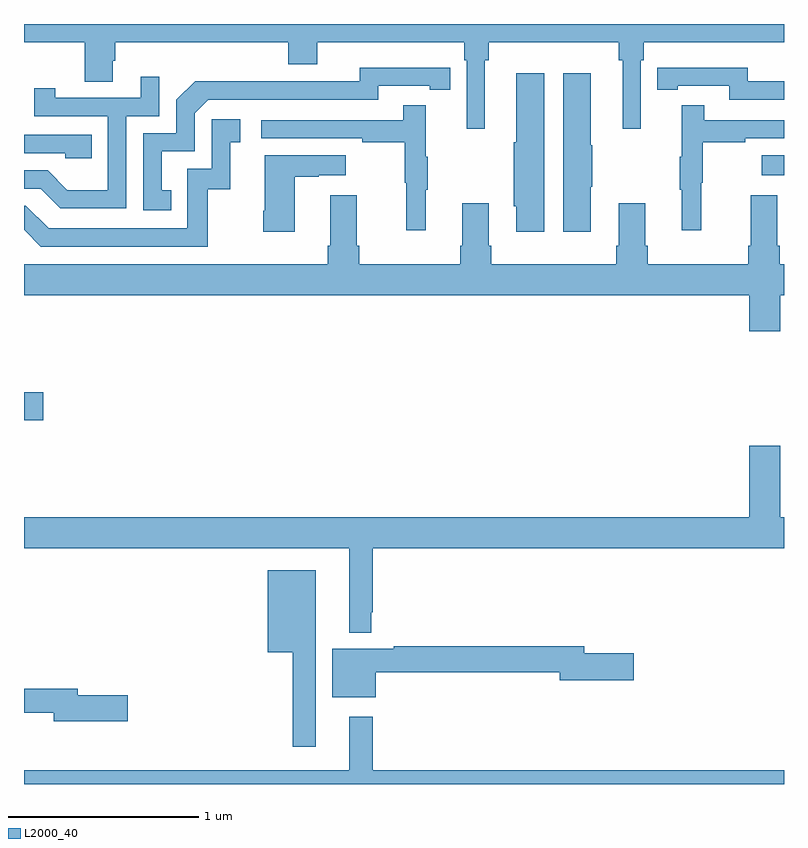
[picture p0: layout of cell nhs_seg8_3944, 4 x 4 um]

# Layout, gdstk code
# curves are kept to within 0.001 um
import gdstk
lib = gdstk.Library(unit=1e-6, precision=1e-09)
def R(c, l, rs):  # rectangles x0, y0, x1, y1
    for r in rs: c.add(gdstk.rectangle(r[:2], r[2:], *l))
def P(c, l, *ps):  # polygons
    for p in ps: c.add(gdstk.Polygon(p, *l))
L2000_40 = (2000, 40)

nhs_seg8_3944 = lib.new_cell('nhs_seg8_3944')
R(nhs_seg8_3944, L2000_40, [(353,1143.815,353.101,1143.962), (356.883,1145.105,357,1145.209)])
P(nhs_seg8_3944, L2000_40, [(355.426,1145.708),(355.445,1145.708),(355.445,1145.804),(356.131,1145.804),(356.131,1145.708),(356.15,1145.708),(356.15,1145.349),(356.247,1145.349),(356.247,1145.708),(356.261,1145.708),(356.261,1145.804),(357,1145.804),(357,1145.9),(353,1145.9),(353,1145.804),(353.32,1145.804),(353.32,1145.596),(353.467,1145.596),(353.467,1145.706),(353.48,1145.706),(353.48,1145.804),(354.392,1145.804),(354.392,1145.687),(354.544,1145.687),(354.544,1145.804),(355.316,1145.804),(355.316,1145.708),(355.329,1145.708),(355.329,1145.349),(355.426,1145.349)],
  [(353.774,1145.025),(353.725,1145.025),(353.725,1145.229),(353.898,1145.229),(353.898,1145.43),(353.97,1145.502),(354.864,1145.502),(354.864,1145.574),(355.136,1145.574),(355.136,1145.554),(355.244,1145.554),(355.244,1145.67),(354.768,1145.671),(354.768,1145.598),(354.308,1145.598),(354.308,1145.6),(353.9,1145.6),(353.802,1145.502),(353.802,1145.325),(353.628,1145.325),(353.628,1144.92),(353.774,1144.92)],
  [(357,1145.598),(356.808,1145.598),(356.808,1145.671),(356.44,1145.671),(356.44,1145.67),(356.332,1145.67),(356.332,1145.554),(356.44,1145.554),(356.44,1145.574),(356.712,1145.574),(356.712,1145.502),(357,1145.502)],
  [(355.738,1145.641),(355.592,1145.641),(355.592,1145.277),(355.577,1145.277),(355.577,1144.941),(355.592,1144.941),(355.592,1144.806),(355.738,1144.806)],
  [(355.984,1145.044),(355.992,1145.044),(355.992,1145.261),(355.984,1145.261),(355.984,1145.641),(355.838,1145.641),(355.838,1144.806),(355.984,1144.806)],
  [(353.538,1145.415),(353.712,1145.415),(353.712,1145.623),(353.615,1145.623),(353.615,1145.511),(353.164,1145.511),(353.164,1145.563),(353.053,1145.563),(353.053,1145.415),(353.442,1145.415),(353.442,1145.026),(353.228,1145.026),(353.124,1145.13),(353,1145.13),(353,1145.034),(353.087,1145.034),(353.192,1144.929),(353.538,1144.929)],
  [(355.115,1145.027),(355.126,1145.027),(355.126,1145.201),(355.115,1145.201),(355.115,1145.473),(354.997,1145.473),(354.997,1145.394),(354.249,1145.394),(354.249,1145.298),(354.781,1145.298),(354.781,1145.278),(355.005,1145.278),(355.005,1145.064),(355.012,1145.064),(355.012,1144.815),(355.115,1144.815)],
  [(356.564,1145.064),(356.572,1145.064),(356.572,1145.278),(356.795,1145.278),(356.795,1145.298),(357,1145.298),(357,1145.394),(356.579,1145.394),(356.579,1145.473),(356.462,1145.473),(356.462,1145.201),(356.451,1145.201),(356.451,1145.027),(356.462,1145.027),(356.462,1144.815),(356.564,1144.815)],
  [(353.968,1145.031),(354.086,1145.031),(354.086,1145.277),(354.139,1145.277),(354.139,1145.398),(353.988,1145.398),(353.988,1145.139),(353.859,1145.139),(353.859,1144.824),(353.13,1144.824),(353.01,1144.944),(353,1144.944),(353,1144.816),(353.088,1144.728),(353.968,1144.728)],
  [(353.357,1145.316),(353,1145.316),(353,1145.22),(353.217,1145.22),(353.217,1145.193),(353.357,1145.193)],
  [(354.424,1145.095),(354.551,1145.095),(354.551,1145.105),(354.694,1145.105),(354.694,1145.209),(354.266,1145.209),(354.266,1144.918),(354.259,1144.918),(354.259,1144.806),(354.424,1144.806)],
  [(356.98,1144.472),(357,1144.472),(357,1144.636),(356.978,1144.636),(356.978,1144.732),(356.965,1144.732),(356.965,1144.999),(356.825,1144.999),(356.825,1144.732),(356.813,1144.732),(356.813,1144.636),(356.282,1144.636),(356.282,1144.732),(356.269,1144.732),(356.269,1144.957),(356.129,1144.957),(356.129,1144.732),(356.117,1144.732),(356.117,1144.636),(355.46,1144.636),(355.46,1144.732),(355.447,1144.732),(355.447,1144.957),(355.307,1144.957),(355.307,1144.732),(355.295,1144.732),(355.295,1144.636),(354.764,1144.636),(354.764,1144.732),(354.751,1144.732),(354.751,1144.999),(354.611,1144.999),(354.611,1144.732),(354.599,1144.732),(354.599,1144.636),(353,1144.636),(353,1144.472),(356.816,1144.472),(356.816,1144.284),(356.98,1144.284)],
  [(354.828,1142.803),(354.835,1142.803),(354.835,1143.14),(357,1143.14),(357,1143.304),(356.98,1143.304),(356.98,1143.679),(356.816,1143.679),(356.816,1143.304),(353,1143.304),(353,1143.14),(354.713,1143.14),(354.713,1142.696),(354.828,1142.696)],
  [(354.535,1143.025),(354.284,1143.025),(354.284,1142.594),(354.414,1142.594),(354.414,1142.097),(354.535,1142.097)],
  [(354.85,1142.488),(355.82,1142.488),(355.82,1142.446),(356.209,1142.446),(356.209,1142.588),(355.948,1142.588),(355.948,1142.624),(354.946,1142.624),(354.946,1142.611),(354.623,1142.611),(354.623,1142.357),(354.85,1142.357)],
  [(353.545,1142.366),(353.284,1142.366),(353.284,1142.402),(353,1142.402),(353,1142.274),(353.156,1142.274),(353.156,1142.231),(353.545,1142.231)],
  [(357,1141.972),(354.835,1141.972),(354.835,1142.254),(354.713,1142.254),(354.713,1141.972),(353,1141.972),(353,1141.9),(357,1141.9)])

lib.write_gds('nhs_seg8_3944.gds')
